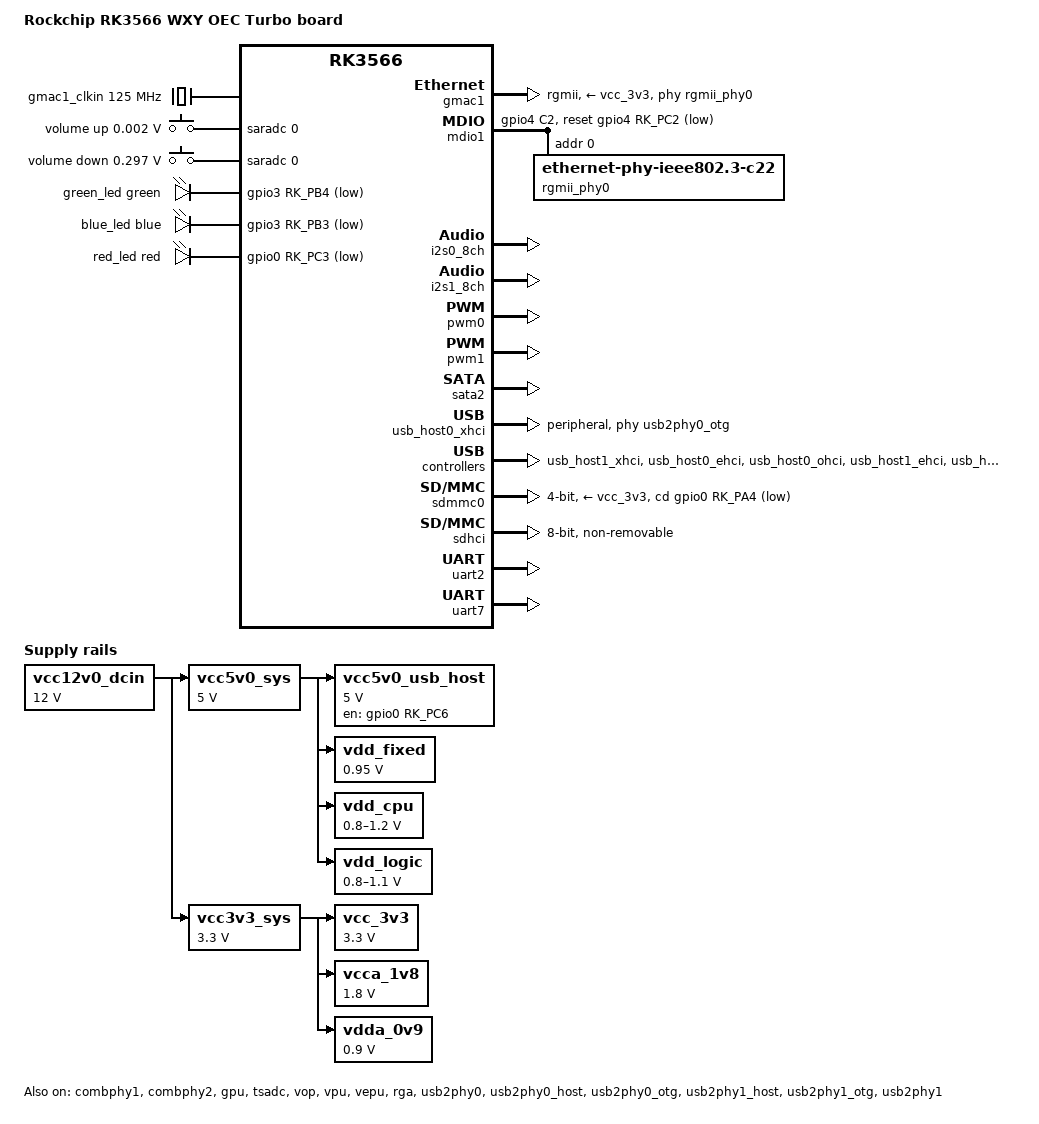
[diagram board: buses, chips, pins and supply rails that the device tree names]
// SPDX-License-Identifier: (GPL-2.0+ OR MIT)

/*
 * Author: Piotr Oniszczuk piotr.oniszczuk@gmail.com
 * Based on Quartz64 DT by: Peter Geis pgwipeout@gmail.com
 * GMAC/PHY reset and eMMC pinmux backported from Jun Yan, Linux commit
 * 53ec6d21fe1ec0677f9db56a23dda8d145eda102 (OneThing Edge Cube).
 */

/dts-v1/;

#include <dt-bindings/gpio/gpio.h>
#include <dt-bindings/input/input.h>
#include <dt-bindings/leds/common.h>
#include <dt-bindings/phy/phy.h>
#include <dt-bindings/pinctrl/rockchip.h>
#include <dt-bindings/soc/rockchip,vop2.h>
#include <dt-bindings/clock/rk3568-cru.h>
#include <dt-bindings/power/rk3568-power.h>
#include "rk3566.dtsi"

/ {
	compatible = "rockchip,rk3566-wxy-oec-turbo-4g", "rockchip,rk3566";
	model = "Rockchip RK3566 WXY OEC Turbo board";

	aliases {
		ethernet0 = &gmac1;
		mmc0 = &sdhci;
		mmc1 = &sdmmc0;
		sata2 = &sata2;
	};

	/delete-node/ display-subsystem;

	chosen: chosen {
		stdout-path = "serial2:1500000n8";
	};

	reserved-memory {
		#address-cells = <2>;
		#size-cells = <2>;
		ranges;
	};

	gmac1_clkin: external-gmac1-clock {
		compatible = "fixed-clock";
		clock-frequency = <125000000>;
		clock-output-names = "gmac1_clkin";
		#clock-cells = <0>;
	};

	adc_keys: adc-keys {
		compatible = "adc-keys";
		io-channels = <&saradc 0>;
		io-channel-names = "buttons";
		keyup-threshold-microvolt = <1800000>;
		poll-interval = <100>;

		vol-up-key {
			label = "volume up";
			linux,code = <KEY_VOLUMEUP>;
			press-threshold-microvolt = <1750>;
		};

		vol-down-key {
			label = "volume down";
			linux,code = <KEY_VOLUMEDOWN>;
			press-threshold-microvolt = <297500>;
		};
	};
	leds {
		compatible = "gpio-leds";
		pinctrl-names = "default";
		pinctrl-0 = <&led_pins>;

		green_led: green-led {
			color = <LED_COLOR_ID_GREEN>;
			function = LED_FUNCTION_STATUS;
			gpios = <&gpio3 RK_PB4 GPIO_ACTIVE_LOW>;
			default-state = "off";
			retain-state-suspended;
		};

		blue_led: blue-led {
			color = <LED_COLOR_ID_BLUE>;
			function = LED_FUNCTION_STATUS;
			linux,default-trigger = "heartbeat";
			gpios = <&gpio3 RK_PB3 GPIO_ACTIVE_LOW>;
			default-state = "off";
			retain-state-suspended;
		};

		red_led: red-led {
			color = <LED_COLOR_ID_RED>;
			function = LED_FUNCTION_STATUS;
			gpios = <&gpio0 RK_PC3 GPIO_ACTIVE_LOW>;
			default-state = "off";
			retain-state-suspended;
		};
	};

	vcc12v0_dcin: regulator-vcc12v0-dcin {
		compatible = "regulator-fixed";
		regulator-name = "vcc12v0_dcin";
		regulator-always-on;
		regulator-boot-on;
		regulator-min-microvolt = <12000000>;
		regulator-max-microvolt = <12000000>;
	};

	vcc5v0_sys: regulator-vcc5v0-sys {
		compatible = "regulator-fixed";
		regulator-name = "vcc5v0_sys";
		regulator-always-on;
		regulator-boot-on;
		regulator-min-microvolt = <5000000>;
		regulator-max-microvolt = <5000000>;
		vin-supply = <&vcc12v0_dcin>;
	};

	vcc3v3_sys: regulator-vcc3v3-sys {
		compatible = "regulator-fixed";
		regulator-name = "vcc3v3_sys";
		regulator-always-on;
		regulator-boot-on;
		regulator-min-microvolt = <3300000>;
		regulator-max-microvolt = <3300000>;
		vin-supply = <&vcc12v0_dcin>;
	};

	vcc_3v3: regulator-vcc-3v3 {
		compatible = "regulator-fixed";
		regulator-name = "vcc_3v3";
		regulator-always-on;
		regulator-boot-on;
		regulator-min-microvolt = <3300000>;
		regulator-max-microvolt = <3300000>;
		vin-supply = <&vcc3v3_sys>;
	};

	vcc5v0_usb_host: regulator-vcc5v0-usb-host {
		compatible = "regulator-fixed";
		regulator-name = "vcc5v0_usb_host";
		regulator-always-on;
		regulator-boot-on;
		regulator-min-microvolt = <5000000>;
		regulator-max-microvolt = <5000000>;
		vin-supply = <&vcc5v0_sys>;
		gpio = <&gpio0 RK_PC6 GPIO_ACTIVE_HIGH>;
		enable-active-high;
		pinctrl-names = "default";
		pinctrl-0 = <&vcc5v0_usb_host_en>;
	};

	vcca_1v8: regulator-vcca-1v8 {
		compatible = "regulator-fixed";
		regulator-name = "vcca_1v8";
		regulator-always-on;
		regulator-boot-on;
		regulator-min-microvolt = <1800000>;
		regulator-max-microvolt = <1800000>;
		vin-supply = <&vcc3v3_sys>;
	};

	vdda_0v9: regulator-vdda-0v9 {
		compatible = "regulator-fixed";
		regulator-name = "vdda_0v9";
		regulator-always-on;
		regulator-boot-on;
		regulator-min-microvolt = <900000>;
		regulator-max-microvolt = <900000>;
		vin-supply = <&vcc3v3_sys>;
	};

	vdd_fixed: regulator-vdd-fixed {
		compatible = "regulator-fixed";
		regulator-name = "vdd_fixed";
		regulator-min-microvolt = <950000>;
		regulator-max-microvolt = <950000>;
		regulator-always-on;
		regulator-boot-on;
		vin-supply = <&vcc5v0_sys>;
	};

	vdd_cpu: regulator-vdd-cpu {
		compatible = "pwm-regulator";
		pwms = <&pwm0 0 5000 1>;
		regulator-name = "vdd_cpu";
		regulator-min-microvolt = <800000>;
		regulator-max-microvolt = <1200000>;
		regulator-always-on;
		regulator-boot-on;
		regulator-settling-time-up-us = <250>;
		pwm-supply = <&vcc5v0_sys>;
	};

	vdd_logic: regulator-vdd-logic {
		compatible = "pwm-regulator";
		pwms = <&pwm1 0 5000 1>;
		regulator-name = "vdd_logic";
		regulator-min-microvolt = <800000>;
		regulator-max-microvolt = <1100000>;
		regulator-always-on;
		regulator-boot-on;
		regulator-settling-time-up-us = <250>;
		pwm-supply = <&vcc5v0_sys>;
	};
};

&combphy1 {
	status = "okay";
};

&combphy2 {
	status = "okay";
};

&cpu0 {
	cpu-supply = <&vdd_cpu>;
};

&cpu1 {
	cpu-supply = <&vdd_cpu>;
};

&cpu2 {
	cpu-supply = <&vdd_cpu>;
};

&cpu3 {
	cpu-supply = <&vdd_cpu>;
};

&gmac1 {
	assigned-clocks = <&cru SCLK_GMAC1_RX_TX>, <&cru SCLK_GMAC1>;
	assigned-clock-parents = <&cru SCLK_GMAC1_RGMII_SPEED>, <&gmac1_clkin>;
	/* Match the working original 4G/8G reference; the MAC supplies delays. */
	phy-mode = "rgmii";
	tx_delay = <0x4f>;
	rx_delay = <0x2d>;
	clock_in_out = "input";
	phy-supply = <&vcc_3v3>;
	pinctrl-names = "default";
	pinctrl-0 = <&gmac1m1_miim
		    &gmac1m1_tx_bus2
		    &gmac1m1_rx_bus2
		    &gmac1m1_rgmii_clk
		    &gmac1m1_rgmii_bus
		    &gmac1m1_clkinout>;
	/* MDIO resets the PHY before reading its ID. */
	phy-handle = <&rgmii_phy0>;
	status = "okay";
};

&mdio1 {
	/* Reset before PHY-ID reads; the generic MDIO bus owns this GPIO. */
	reset-gpios = <&gpio4 RK_PC2 GPIO_ACTIVE_LOW>;
	reset-delay-us = <20000>;
	reset-post-delay-us = <100000>;
	pinctrl-names = "default";
	pinctrl-0 = <&eth_phy_reset_pin>;

	rgmii_phy0: ethernet-phy@0 {
		compatible = "ethernet-phy-ieee802.3-c22";
		/* Original 4G/8G reference DTB selects PHY address 0. */
		reg = <0x0>;

		/* PHYLIB LED hardware control, supported by Linux 6.12 RTL8211F. */
		leds {
			#address-cells = <1>;
			#size-cells = <0>;
			led@0 {
				reg = <0>;
				color = <LED_COLOR_ID_WHITE>;
				function = LED_FUNCTION_LAN;
				function-enumerator = <0>;
			};
			led@1 {
				reg = <1>;
				color = <LED_COLOR_ID_GREEN>;
				function = LED_FUNCTION_LAN;
				function-enumerator = <1>;
			};
			led@2 {
				reg = <2>;
				color = <LED_COLOR_ID_YELLOW>;
				function = LED_FUNCTION_LAN;
				function-enumerator = <2>;
			};
		};
	};
};

&gpu {
	mali-supply = <&vdd_logic>;
	status = "okay";
};

&i2s0_8ch {
	status = "okay";
};

&i2s1_8ch {
	rockchip,trcm-sync-tx-only;
	status = "okay";
};

&pinctrl {
	gmac {
		eth_phy_reset_pin: eth-phy-reset-pin {
			rockchip,pins = <4 RK_PC2 RK_FUNC_GPIO &pcfg_pull_up>;
		};
	};

	usb {
		vcc5v0_usb_host_en: vcc5v0_usb_host_en {
			rockchip,pins = <0 RK_PC6 RK_FUNC_GPIO &pcfg_pull_none>;
		};

	};

	sata {
		sata_pm_reset: sata-pm-reset {
			rockchip,pins = <0 RK_PA6 RK_FUNC_GPIO &pcfg_output_high>;
		};
	};

	leds {
		led_pins: led-pins {
			rockchip,pins = <3 RK_PB3 RK_FUNC_GPIO &pcfg_pull_none>,
					<3 RK_PB4 RK_FUNC_GPIO &pcfg_pull_none>,
					<0 RK_PC3 RK_FUNC_GPIO &pcfg_pull_none>;
		};
	};
};

&pmu_io_domains {
	pmuio1-supply = <&vcc_3v3>;
	pmuio2-supply = <&vcc_3v3>;
	vccio1-supply = <&vcca_1v8>;
	vccio3-supply = <&vcc_3v3>;
	vccio4-supply = <&vcca_1v8>;
	vccio5-supply = <&vcc_3v3>;
	vccio6-supply = <&vcca_1v8>;
	vccio7-supply = <&vcc_3v3>;
	status = "okay";
};

&pwm0 {
	status = "okay";
};

&pwm1 {
	status = "okay";
};

&pcie2x1 {
	status = "disabled";
};

&sata2 {
	status = "okay";
};

&usb_host0_xhci {
	/* USB2 flashing/OTG port; keep the separate USB3 connector in host mode. */
	dr_mode = "peripheral";
	phys = <&usb2phy0_otg>;
	phy-names = "usb2-phy";
	maximum-speed = "high-speed";
	status = "okay";
};

&usb_host1_xhci {
	status = "okay";
};


&usb_host0_ehci {
	status = "okay";
};

&usb_host0_ohci {
	status = "okay";
};

&usb_host1_ehci {
	status = "okay";
};

&usb_host1_ohci {
	status = "okay";
};


&sdmmc0 {
	bus-width = <4>;
	cap-sd-highspeed;
	cd-gpios = <&gpio0 RK_PA4 GPIO_ACTIVE_LOW>;
	disable-wp;
	pinctrl-names = "default";
	pinctrl-0 = <&sdmmc0_bus4 &sdmmc0_clk &sdmmc0_cmd &sdmmc0_det>;
	vmmc-supply = <&vcc_3v3>;
	status = "okay";
};

&sdhci {
	bus-width = <8>;
	cap-mmc-highspeed;
	/* Restore the original board's HS200 mode within standard eMMC timing. */
	mmc-hs200-1_8v;
	max-frequency = <200000000>;
	assigned-clocks = <&cru BCLK_EMMC>, <&cru TCLK_EMMC>, <&cru CCLK_EMMC>;
	assigned-clock-rates = <200000000>, <24000000>, <200000000>;
	no-sd;
	no-sdio;
	non-removable;
	pinctrl-names = "default";
	pinctrl-0 = <&emmc_bus8 &emmc_clk &emmc_cmd &emmc_datastrobe>;
	status = "okay";
};

&spi1 {
	pinctrl-names = "default";
	pinctrl-0 = <&spi1m1_cs0 &spi1m1_pins>;
};

&tsadc {
	/* tshut mode 0:CRU 1:GPIO */
	rockchip,hw-tshut-mode = <1>;
	/* tshut polarity 0:LOW 1:HIGH */
	rockchip,hw-tshut-polarity = <0>;
	status = "okay";
};

&uart2 {
	status = "okay";
};

&uart5 {
	status = "disabled";
};

&uart7 {
	status = "okay";
};

&vop {
	assigned-clocks = <&cru DCLK_VOP0>, <&cru DCLK_VOP1>;
	assigned-clock-parents = <&pmucru PLL_HPLL>, <&cru PLL_VPLL>;
	status = "okay";
};

&vop_mmu {
	status = "okay";
};

&vpu {
	status = "okay";
};

&vdpu_mmu {
	status = "okay";
};

&vepu {
	status = "okay";
};

&vepu_mmu {
	status = "okay";
};

&rga {
	status = "okay";
};

&usb2phy0 {
	status = "okay";
};

&usb2phy0_host {
	phy-supply = <&vcc5v0_usb_host>;
	status = "okay";
};

&usb2phy0_otg {
	/* The PC supplies VBUS on this device-only port. */
	/delete-property/ phy-supply;
	status = "okay";
};

&usb2phy1_host {
	phy-supply = <&vcc5v0_usb_host>;
	status = "okay";
};

&usb2phy1_otg {
	phy-supply = <&vcc5v0_usb_host>;
	status = "okay";
};

&usb2phy1 {
	status = "okay";
};
